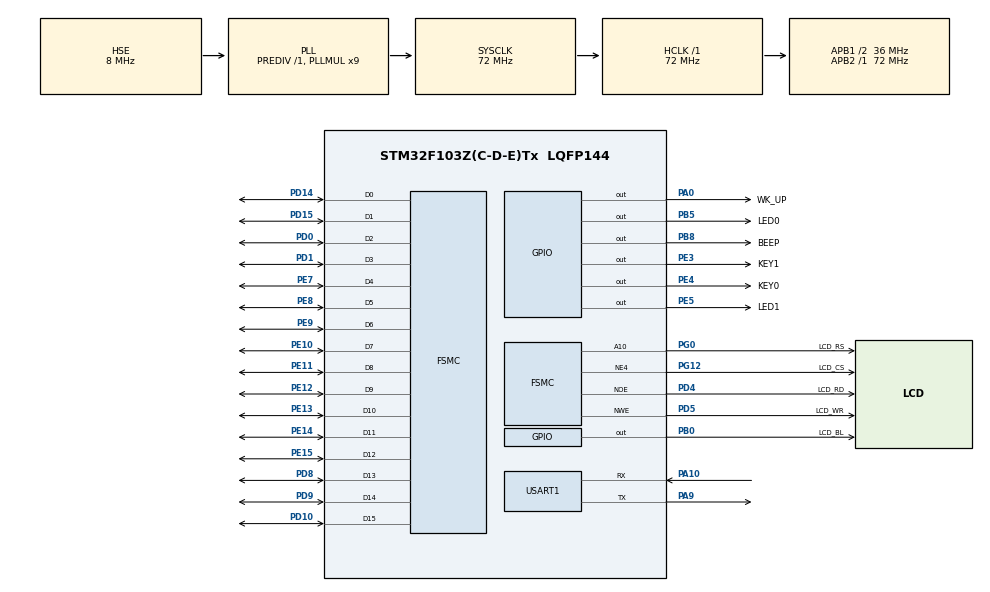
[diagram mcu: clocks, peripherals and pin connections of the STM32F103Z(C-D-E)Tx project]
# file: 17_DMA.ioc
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Dma.Request0=USART1_TX
Dma.USART1_TX.0.Direction=DMA_MEMORY_TO_PERIPH
Dma.USART1_TX.0.Instance=DMA1_Channel4
Dma.USART1_TX.0.MemDataAlignment=DMA_MDATAALIGN_BYTE
Dma.USART1_TX.0.MemInc=DMA_MINC_ENABLE
Dma.USART1_TX.0.Mode=DMA_NORMAL
Dma.USART1_TX.0.PeriphDataAlignment=DMA_PDATAALIGN_BYTE
Dma.USART1_TX.0.PeriphInc=DMA_PINC_DISABLE
Dma.USART1_TX.0.Priority=DMA_PRIORITY_MEDIUM
FSMC.AddressSetupTime1=0
FSMC.BusTurnAroundDuration1=15
FSMC.DataSetupTime1=15
FSMC.ExtendedAddressSetupTime1=0
FSMC.ExtendedDataSetupTime1=1
FSMC.ExtendedMode1=FSMC_EXTENDED_MODE_ENABLE
Mcu.Family=STM32F1
Mcu.Name=STM32F103Z(C-D-E)Tx
Mcu.Package=LQFP144
NVIC.PriorityGroup=NVIC_PRIORITYGROUP_2
NVIC.USART1_IRQn=true\:2\:2\:true\:false\:true\:true\:true\:true
OSC_IN.Mode=HSE-External-Oscillator
OSC_IN.Signal=RCC_OSC_IN
OSC_OUT.Mode=HSE-External-Oscillator
OSC_OUT.Signal=RCC_OSC_OUT
PA0-WKUP.GPIO_Label=WK_UP
PA0-WKUP.GPIO_PuPd=GPIO_PULLDOWN
PA0-WKUP.GPIO_Speed=GPIO_SPEED_FREQ_HIGH
PA0-WKUP.PinState=GPIO_PIN_RESET
PA0-WKUP.Signal=GPIO_Output
PA10.Mode=Asynchronous
PA10.Signal=USART1_RX
PA13.Mode=Serial_Wire
PA13.Signal=SYS_JTMS-SWDIO
PA14.Mode=Serial_Wire
PA14.Signal=SYS_JTCK-SWCLK
PA9.Mode=Asynchronous
PA9.Signal=USART1_TX
PB0.GPIO_Label=LCD_BL
PB0.GPIO_PuPd=GPIO_PULLUP
PB0.GPIO_Speed=GPIO_SPEED_FREQ_HIGH
PB0.PinState=GPIO_PIN_SET
PB0.Signal=GPIO_Output
PB5.GPIO_Label=LED0
PB5.GPIO_PuPd=GPIO_PULLUP
PB5.GPIO_Speed=GPIO_SPEED_FREQ_HIGH
PB5.PinState=GPIO_PIN_SET
PB5.Signal=GPIO_Output
PB8.GPIO_Label=BEEP
PB8.GPIO_ModeDefaultOutputPP=GPIO_MODE_OUTPUT_PP
PB8.GPIO_PuPd=GPIO_PULLDOWN
PB8.GPIO_Speed=GPIO_SPEED_FREQ_HIGH
PB8.PinState=GPIO_PIN_RESET
PB8.Signal=GPIO_Output
PC14-OSC32_IN.Mode=LSE-External-Oscillator
PC14-OSC32_IN.Signal=RCC_OSC32_IN
PC15-OSC32_OUT.Mode=LSE-External-Oscillator
PC15-OSC32_OUT.Signal=RCC_OSC32_OUT
PD0.Signal=FSMC_D2_DA2
PD1.Signal=FSMC_D3_DA3
PD10.Signal=FSMC_D15_DA15
PD14.Signal=FSMC_D0_DA0
PD15.Signal=FSMC_D1_DA1
PD4.GPIO_Label=LCD_RD
PD4.Signal=FSMC_NOE
PD5.GPIO_Label=LCD_WR
PD5.Signal=FSMC_NWE
PD8.Signal=FSMC_D13_DA13
PD9.Signal=FSMC_D14_DA14
PE10.Signal=FSMC_D7_DA7
PE11.Signal=FSMC_D8_DA8
PE12.Signal=FSMC_D9_DA9
PE13.Signal=FSMC_D10_DA10
PE14.Signal=FSMC_D11_DA11
PE15.Signal=FSMC_D12_DA12
PE3.GPIO_Label=KEY1
PE3.GPIO_PuPd=GPIO_PULLUP
PE3.GPIO_Speed=GPIO_SPEED_FREQ_HIGH
PE3.PinState=GPIO_PIN_SET
PE3.Signal=GPIO_Output
PE4.GPIO_Label=KEY0
PE4.GPIO_PuPd=GPIO_PULLUP
PE4.GPIO_Speed=GPIO_SPEED_FREQ_HIGH
PE4.PinState=GPIO_PIN_SET
PE4.Signal=GPIO_Output
PE5.GPIO_Label=LED1
PE5.GPIO_PuPd=GPIO_PULLUP
PE5.GPIO_Speed=GPIO_SPEED_FREQ_HIGH
PE5.PinState=GPIO_PIN_SET
PE5.Signal=GPIO_Output
PE7.Signal=FSMC_D4_DA4
PE8.Signal=FSMC_D5_DA5
PE9.Signal=FSMC_D6_DA6
PG0.GPIO_Label=LCD_RS
PG0.Signal=FSMC_A10
PG12.GPIO_Label=LCD_CS
PG12.Mode=NorPsramChipSelect4_1
PG12.Signal=FSMC_NE4
ProjectManager.HeapSize=0x200
ProjectManager.StackSize=0x400
ProjectManager.TargetToolchain=STM32CubeIDE
RCC.AHBFreq_Value=72000000
RCC.APB1CLKDivider=RCC_HCLK_DIV2
RCC.APB1Freq_Value=36000000
RCC.APB1TimFreq_Value=72000000
RCC.APB2Freq_Value=72000000
RCC.APB2TimFreq_Value=72000000
RCC.HCLKFreq_Value=72000000
RCC.PLLMUL=RCC_PLL_MUL9
RCC.PLLSourceVirtual=RCC_PLLSOURCE_HSE
RCC.SYSCLKFreq_VALUE=72000000
RCC.SYSCLKSource=RCC_SYSCLKSOURCE_PLLCLK
RCC.USBFreq_Value=72000000
SH.FSMC_A10.0=FSMC_A10,A10_1
SH.FSMC_D0_DA0.0=FSMC_D0,16b-d1
SH.FSMC_D10_DA10.0=FSMC_D10,16b-d1
SH.FSMC_D11_DA11.0=FSMC_D11,16b-d1
SH.FSMC_D12_DA12.0=FSMC_D12,16b-d1
SH.FSMC_D13_DA13.0=FSMC_D13,16b-d1
SH.FSMC_D14_DA14.0=FSMC_D14,16b-d1
SH.FSMC_D15_DA15.0=FSMC_D15,16b-d1
SH.FSMC_D1_DA1.0=FSMC_D1,16b-d1
SH.FSMC_D2_DA2.0=FSMC_D2,16b-d1
SH.FSMC_D3_DA3.0=FSMC_D3,16b-d1
SH.FSMC_D4_DA4.0=FSMC_D4,16b-d1
SH.FSMC_D5_DA5.0=FSMC_D5,16b-d1
SH.FSMC_D6_DA6.0=FSMC_D6,16b-d1
SH.FSMC_D7_DA7.0=FSMC_D7,16b-d1
SH.FSMC_D8_DA8.0=FSMC_D8,16b-d1
SH.FSMC_D9_DA9.0=FSMC_D9,16b-d1
SH.FSMC_NOE.0=FSMC_NOE,Lcd1
SH.FSMC_NWE.0=FSMC_NWE,Lcd1
USART1.VirtualMode=VM_ASYNC
board=custom

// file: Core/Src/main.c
/* USER CODE BEGIN Header */

/* USER CODE END Header */
#include "main.h"
#include "dma.h"
#include "usart.h"
#include "gpio.h"
#include "fsmc.h"

/* USER CODE BEGIN Includes */
#include "../../BSP/LED/led.h"
#include "../../BSP/KEY/key.h"
#include "../../BSP/LCD/lcd.h"
#include "../../SYSTEM/delay/delay.h"
/* USER CODE END Includes */

void SystemClock_Config(void);
/* USER CODE BEGIN PFP */
const uint8_t TEXT_TO_SEND[] = {"正点原子 STM32 DMA 串口实验"}; /* 要循环发送的字符串 */

#define SEND_BUF_SIZE       (sizeof(TEXT_TO_SEND) + 2) * 200        /* 发送数据长度, 等于sizeof(TEXT_TO_SEND) + 2的200倍. */

uint8_t g_sendbuf[SEND_BUF_SIZE];   /* 发送数据缓冲区 */

extern DMA_HandleTypeDef hdma_usart1_tx;
/* USER CODE END PFP */

int main(void)
{
  /* USER CODE BEGIN 1 */
  uint8_t  key = 0;
  uint16_t i, k;
  uint16_t len;
  uint8_t  mask = 0;
  float pro = 0;          /* 进度 */
  /* USER CODE END 1 */

  /* MCU Configuration--------------------------------------------------------*/

  /* Reset of all peripherals, Initializes the Flash interface and the Systick. */
  HAL_Init();

  /* Configure the system clock */
  SystemClock_Config();

  /* USER CODE BEGIN SysInit */
  delay_init(72);						   /* 初始化延时函数 */
  /* USER CODE END SysInit */

  /* Initialize all configured peripherals */
  MX_GPIO_Init();
  MX_DMA_Init();
  MX_FSMC_Init();
  MX_USART1_UART_Init();
  /* USER CODE BEGIN 2 */
  lcd_init();                                         /* 初始化LCD */
  lcd_show_string(30, 50, 200, 16, 16, "STM32", RED);
  lcd_show_string(30, 70, 200, 16, 16, "DMA TEST", RED);
  lcd_show_string(30, 90, 200, 16, 16, "ATOM@ALIENTEK", RED);
  lcd_show_string(30, 110, 200, 16, 16, "KEY0:Start", RED);

  len = sizeof(TEXT_TO_SEND);
  k = 0;

  for (i = 0; i < SEND_BUF_SIZE; i++) /* 填充ASCII字符集数据 */
  {
	  if (k >= len)   /* 入换行符 */
	  {
		  if (mask)
		  {
			  g_sendbuf[i] = 0x0a;
			  k = 0;
		  }
		  else
		  {
			  g_sendbuf[i] = 0x0d;
			  mask++;
		  }
	  }
	  else     /* 复制TEXT_TO_SEND语句 */
	  {
		  mask = 0;
		  g_sendbuf[i] = TEXT_TO_SEND[k];
		  k++;
	  }
  }

  i = 0;
  /* USER CODE END 2 */

  /* Infinite loop */
  /* USER CODE BEGIN WHILE */
  while (1)
  {
	  key = key_scan(0);

	  if (key == KEY0_PRES)       /* KEY0按下 */
	  {
		  printf("\r\nDMA DATA:\r\n");
		  lcd_show_string(30, 130, 200, 16, 16, "Start Transimit....", BLUE);
		  lcd_show_string(30, 150, 200, 16, 16, "   %", BLUE);    /* 显示百分号 */

		  HAL_UART_Transmit_DMA(&huart1, g_sendbuf, SEND_BUF_SIZE);
		  /* 等待DMA传输完成，此时我们来做另外一些事情，比如点灯
		   * 实际应用中，传输数据期间，可以执行另外的任务
		   */
		  while (1)
		  {

			  if ( __HAL_DMA_GET_FLAG(&hdma_usart1_tx, DMA_FLAG_TC4))   /* 等待 DMA1_Channel4 传输完成 */
			  {
				  __HAL_DMA_CLEAR_FLAG(&hdma_usart1_tx, DMA_FLAG_TC4);  /* 清除 DMA1_Channel4 传输完成标志 */
				  HAL_UART_DMAStop(&huart1);                  /* 传输完成以后关闭串口DMA */
				  break;
			  }

			  pro = __HAL_DMA_GET_COUNTER(&hdma_usart1_tx);
			  len = SEND_BUF_SIZE;        /* 总长度 */
			  pro = 1 - (pro / len);      /* 得到百分比 */
			  pro *= 100;                 /* 扩大100倍 */
			  lcd_show_num(30, 150, pro, 3, 16, BLUE);
		  }
		  lcd_show_num(30, 150, 100, 3, 16, BLUE);    /* 显示100% */
		  lcd_show_string(30, 130, 200, 16, 16, "Transimit Finished!", BLUE); /* 提示传送完成 */
	  }

	  i++;
	  delay_ms(10);

	  if (i == 20)
	  {
		  LED0_TOGGLE();  /* LED0闪烁,提示系统正在运行 */
		  i = 0;
	  }

    /* USER CODE END WHILE */

  }
}

void SystemClock_Config(void)
{
  RCC_OscInitTypeDef RCC_OscInitStruct = {0};
  RCC_ClkInitTypeDef RCC_ClkInitStruct = {0};

  /** Initializes the RCC Oscillators according to the specified parameters
  * in the RCC_OscInitTypeDef structure.
  */
  RCC_OscInitStruct.OscillatorType = RCC_OSCILLATORTYPE_HSE;
  RCC_OscInitStruct.HSEState = RCC_HSE_ON;
  RCC_OscInitStruct.HSEPredivValue = RCC_HSE_PREDIV_DIV1;
  RCC_OscInitStruct.HSIState = RCC_HSI_ON;
  RCC_OscInitStruct.PLL.PLLState = RCC_PLL_ON;
  RCC_OscInitStruct.PLL.PLLSource = RCC_PLLSOURCE_HSE;
  RCC_OscInitStruct.PLL.PLLMUL = RCC_PLL_MUL9;
  if (HAL_RCC_OscConfig(&RCC_OscInitStruct) != HAL_OK)
  {
    Error_Handler();
  }

  /** Initializes the CPU, AHB and APB buses clocks
  */
  RCC_ClkInitStruct.ClockType = RCC_CLOCKTYPE_HCLK|RCC_CLOCKTYPE_SYSCLK
                              |RCC_CLOCKTYPE_PCLK1|RCC_CLOCKTYPE_PCLK2;
  RCC_ClkInitStruct.SYSCLKSource = RCC_SYSCLKSOURCE_PLLCLK;
  RCC_ClkInitStruct.AHBCLKDivider = RCC_SYSCLK_DIV1;
  RCC_ClkInitStruct.APB1CLKDivider = RCC_HCLK_DIV2;
  RCC_ClkInitStruct.APB2CLKDivider = RCC_HCLK_DIV1;

  if (HAL_RCC_ClockConfig(&RCC_ClkInitStruct, FLASH_LATENCY_2) != HAL_OK)
  {
    Error_Handler();
  }
}

void Error_Handler(void)
{
  __disable_irq();
  while (1)
  {
  }
}
